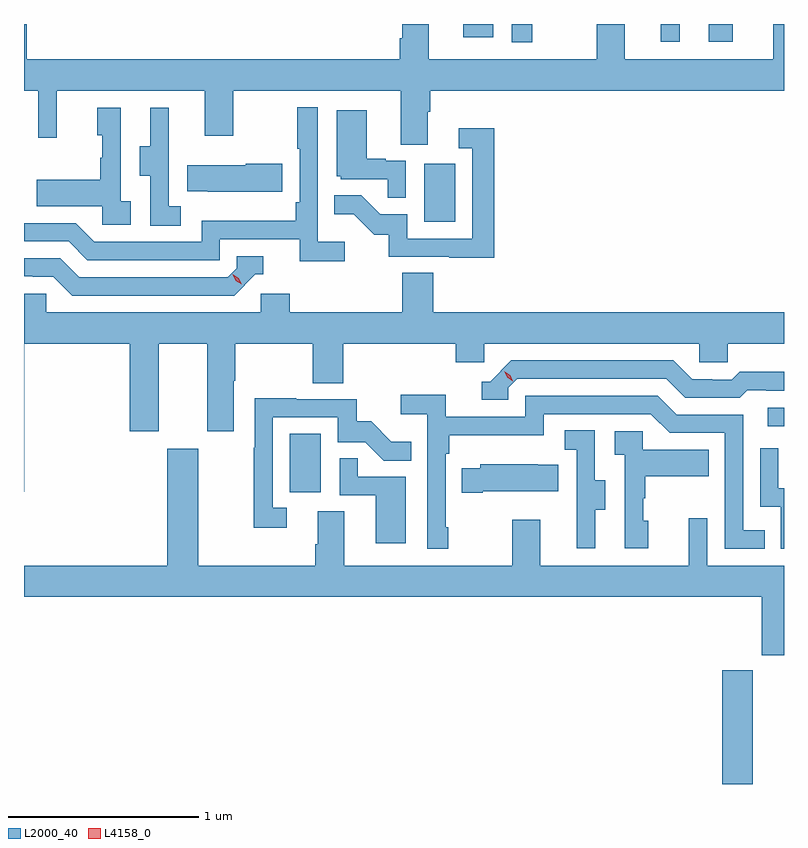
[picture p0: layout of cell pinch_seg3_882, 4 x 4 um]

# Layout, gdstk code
import gdstk
lib = gdstk.Library(unit=1e-6, precision=1e-09)
def R(c, l, rs):  # rectangles x0, y0, x1, y1
    for r in rs: c.add(gdstk.rectangle(r[:2], r[2:], *l))
def P(c, l, *ps):  # polygons
    for p in ps: c.add(gdstk.Polygon(p, *l))
L2000_40 = (2000, 40)
L4158_0 = (4158, 0)

pinch_seg3_882 = lib.new_cell('pinch_seg3_882')
R(pinch_seg3_882, L2000_40, [(882.437,695.934,882.597,696.532), (880.16,697.47,880.324,697.777), (882.675,697.818,882.761,697.914), (880.868,698.892,881.032,699.199), (881.328,699.837,881.437,699.934), (882.113,699.84,882.211,699.934), (882.366,699.84,882.49,699.934), (881.072,699.864,881.23,699.934)])
P(pinch_seg3_882, L2000_40, [(880.885,699.472),(880.898,699.472),(880.898,699.584),(882.761,699.584),(882.761,699.934),(882.704,699.934),(882.704,699.748),(881.923,699.748),(881.923,699.934),(881.776,699.934),(881.776,699.748),(880.891,699.748),(880.891,699.934),(880.751,699.934),(880.751,699.86),(880.739,699.86),(880.739,699.748),(878.776,699.748),(878.776,699.934),(878.761,699.934),(878.761,699.584),(878.835,699.584),(878.835,699.336),(878.933,699.336),(878.933,699.584),(879.713,699.584),(879.713,699.345),(879.861,699.345),(879.861,699.584),(880.745,699.584),(880.745,699.298),(880.885,699.298)],
  [(880.45,698.788),(880.308,698.788),(880.308,699.496),(880.2,699.496),(880.2,699.277),(880.212,699.277),(880.212,698.995),(880.192,698.995),(880.192,698.899),(879.696,698.899),(879.696,698.787),(879.132,698.787),(879.033,698.886),(878.761,698.886),(878.761,698.79),(878.996,698.79),(879.095,698.691),(879.792,698.691),(879.792,698.802),(880.211,698.802),(880.211,698.686),(880.45,698.686)],
  [(879.322,699.002),(879.27,699.002),(879.27,699.493),(879.146,699.493),(879.146,699.348),(879.172,699.348),(879.172,699.23),(879.162,699.23),(879.162,699.115),(878.827,699.115),(878.827,698.975),(879.174,698.975),(879.174,698.877),(879.322,698.877)],
  [(879.586,698.975),(879.522,698.975),(879.522,699.279),(879.524,699.279),(879.524,699.493),(879.425,699.493),(879.425,699.291),(879.371,699.291),(879.371,699.136),(879.426,699.136),(879.426,698.872),(879.586,698.872)],
  [(880.77,699.213),(880.664,699.213),(880.664,699.226),(880.564,699.226),(880.564,699.481),(880.406,699.481),(880.406,699.132),(880.428,699.132),(880.428,699.117),(880.675,699.117),(880.675,699.019),(880.77,699.019)],
  [(881.237,699.385),(881.049,699.385),(881.049,699.279),(881.121,699.279),(881.121,698.805),(880.779,698.805),(880.779,698.934),(880.635,698.934),(880.537,699.032),(880.393,699.032),(880.393,698.933),(880.497,698.933),(880.604,698.826),(880.681,698.826),(880.681,698.709),(880.999,698.709),(880.999,698.704),(881.237,698.704)],
  [(880.12,699.198),(879.929,699.198),(879.929,699.19),(879.619,699.19),(879.619,699.053),(879.727,699.053),(879.727,699.05),(880.12,699.05)],
  [(879.978,698.616),(880.021,698.616),(880.021,698.712),(879.882,698.712),(879.882,698.649),(879.834,698.601),(879.051,698.601),(878.952,698.7),(878.761,698.7),(878.761,698.607),(878.808,698.607),(878.808,698.604),(878.915,698.604),(879.014,698.505),(879.867,698.505)],
  [(878.877,698.514),(878.761,698.514),(878.761,697.473),(878.762,697.473),(878.762,698.252),(879.317,698.252),(879.317,697.791),(879.469,697.791),(879.469,698.252),(879.725,698.252),(879.725,697.791),(879.865,697.791),(879.865,698.056),(879.873,698.056),(879.873,698.252),(880.282,698.252),(880.282,698.044),(880.442,698.044),(880.442,698.252),(881.033,698.252),(881.033,698.154),(881.184,698.154),(881.184,698.252),(882.315,698.252),(882.315,698.154),(882.465,698.154),(882.465,698.252),(882.761,698.252),(882.761,698.416),(880.916,698.416),(880.916,698.624),(880.751,698.624),(880.751,698.416),(880.16,698.416),(880.16,698.514),(880.008,698.514),(880.008,698.416),(878.877,698.416)],
  [(881.31,698.019),(881.358,698.067),(882.141,698.067),(882.24,697.968),(882.529,697.968),(882.568,698.007),(882.667,698.007),(882.667,698.004),(882.761,698.004),(882.761,698.104),(882.529,698.104),(882.487,698.061),(882.384,698.061),(882.384,698.064),(882.277,698.064),(882.178,698.163),(881.325,698.163),(881.214,698.052),(881.171,698.052),(881.171,697.956),(881.31,697.956)],
  [(880.993,697.285),(880.98,697.285),(880.98,697.673),(881,697.673),(881,697.769),(881.496,697.769),(881.496,697.881),(882.06,697.881),(882.159,697.782),(882.45,697.782),(882.45,697.173),(882.659,697.173),(882.659,697.269),(882.546,697.269),(882.546,697.878),(882.196,697.878),(882.097,697.977),(881.4,697.977),(881.4,697.866),(880.982,697.866),(880.982,697.982),(880.743,697.982),(880.743,697.88),(880.884,697.88),(880.884,697.173),(880.993,697.173)],
  [(880.144,697.389),(880.071,697.389),(880.071,697.863),(880.413,697.863),(880.413,697.734),(880.557,697.734),(880.655,697.636),(880.799,697.636),(880.799,697.735),(880.695,697.735),(880.588,697.842),(880.512,697.842),(880.512,697.959),(880.193,697.959),(880.193,697.964),(879.975,697.964),(879.975,697.703),(879.97,697.703),(879.97,697.284),(880.144,697.284)],
  [(881.767,697.378),(881.821,697.378),(881.821,697.533),(881.766,697.533),(881.766,697.796),(881.607,697.796),(881.607,697.693),(881.67,697.693),(881.67,697.389),(881.669,697.389),(881.669,697.176),(881.767,697.176)],
  [(882.046,697.32),(882.021,697.32),(882.021,697.439),(882.031,697.439),(882.031,697.553),(882.365,697.553),(882.365,697.693),(882.018,697.693),(882.018,697.791),(881.871,697.791),(881.871,697.667),(881.922,697.667),(881.922,697.176),(882.046,697.176)],
  [(882.761,697.49),(882.732,697.49),(882.732,697.702),(882.636,697.702),(882.636,697.392),(882.744,697.392),(882.744,697.173),(882.761,697.173)],
  [(882.761,697.084),(882.357,697.084),(882.357,697.333),(882.26,697.333),(882.26,697.084),(881.479,697.084),(881.479,697.324),(881.332,697.324),(881.332,697.084),(880.447,697.084),(880.447,697.37),(880.307,697.37),(880.307,697.196),(880.295,697.196),(880.295,697.084),(879.679,697.084),(879.679,697.699),(879.515,697.699),(879.515,697.084),(878.761,697.084),(878.761,696.92),(882.644,696.92),(882.644,696.611),(882.761,696.611)],
  [(880.771,697.551),(880.517,697.551),(880.517,697.649),(880.422,697.649),(880.422,697.455),(880.613,697.455),(880.613,697.2),(880.771,697.2)],
  [(881.176,697.475),(881.573,697.475),(881.573,697.615),(881.465,697.615),(881.465,697.618),(881.163,697.618),(881.163,697.597),(881.065,697.597),(881.065,697.468),(881.176,697.468)])
P(pinch_seg3_882, L4158_0, [(881.334,698.053),(881.304,698.074),(881.289,698.106),(881.289,698.107),(881.289,698.107),(881.319,698.086),(881.334,698.053),(881.334,698.053)],
  [(879.907,698.564),(879.876,698.584),(879.859,698.616),(879.859,698.616),(879.859,698.616),(879.89,698.597),(879.907,698.564),(879.907,698.564)])

lib.write_gds('pinch_seg3_882.gds')
